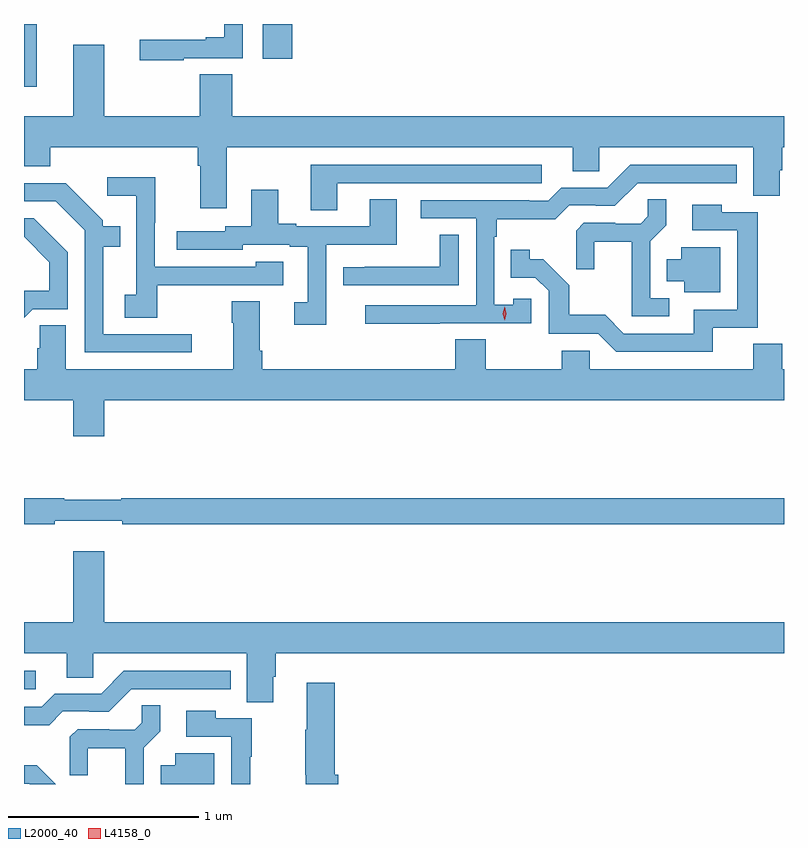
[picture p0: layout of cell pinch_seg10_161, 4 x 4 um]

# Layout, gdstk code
import gdstk
lib = gdstk.Library(unit=1e-6, precision=1e-09)
def R(c, l, rs):  # rectangles x0, y0, x1, y1
    for r in rs: c.add(gdstk.rectangle(r[:2], r[2:], *l))
def P(c, l, *ps):  # polygons
    for p in ps: c.add(gdstk.Polygon(p, *l))
L2000_40 = (2000, 40)
L4158_0 = (4158, 0)

pinch_seg10_161 = lib.new_cell('pinch_seg10_161')
R(pinch_seg10_161, L2000_40, [(692.222,1270.824,692.284,1270.92), (692.222,1273.995,692.29,1274.325), (693.479,1274.142,693.635,1274.325)])
P(pinch_seg10_161, L2000_40, [(693.062,1274.145),(693.372,1274.145),(693.372,1274.325),(693.275,1274.325),(693.275,1274.254),(693.179,1274.254),(693.179,1274.241),(692.832,1274.241),(692.832,1274.133),(693.062,1274.133)],
  [(693.289,1273.676),(695.111,1273.676),(695.111,1273.549),(695.25,1273.549),(695.25,1273.676),(696.059,1273.676),(696.059,1273.42),(696.199,1273.42),(696.199,1273.554),(696.212,1273.554),(696.212,1273.676),(696.222,1273.676),(696.222,1273.84),(693.317,1273.84),(693.317,1274.06),(693.146,1274.06),(693.146,1273.84),(692.644,1273.84),(692.644,1274.215),(692.48,1274.215),(692.48,1273.84),(692.222,1273.84),(692.222,1273.577),(692.36,1273.577),(692.36,1273.676),(693.137,1273.676),(693.137,1273.58),(693.149,1273.58),(693.149,1273.356),(693.289,1273.356)],
  [(694.409,1272.75),(694.893,1272.75),(694.893,1272.879),(694.797,1272.879),(694.797,1272.847),(694.698,1272.847),(694.698,1273.205),(694.711,1273.205),(694.711,1273.298),(695.018,1273.298),(695.091,1273.371),(695.23,1273.371),(695.23,1273.368),(695.331,1273.368),(695.451,1273.488),(695.974,1273.488),(695.974,1273.584),(695.412,1273.584),(695.292,1273.464),(695.049,1273.464),(694.98,1273.395),(694.88,1273.395),(694.88,1273.398),(694.311,1273.398),(694.311,1273.302),(694.602,1273.302),(694.602,1272.846),(694.017,1272.846),(694.017,1272.748),(694.409,1272.748)],
  [(693.871,1273.488),(694.948,1273.488),(694.948,1273.584),(693.731,1273.584),(693.731,1273.345),(693.871,1273.345)],
  [(692.923,1272.949),(693.227,1272.949),(693.227,1272.951),(693.586,1272.951),(693.586,1273.075),(693.441,1273.075),(693.441,1273.047),(692.91,1273.047),(692.91,1273.28),(692.913,1273.28),(692.913,1273.519),(692.661,1273.519),(692.661,1273.421),(692.814,1273.421),(692.814,1272.9),(692.751,1272.9),(692.751,1272.778),(692.923,1272.778)],
  [(693.106,1272.693),(692.638,1272.693),(692.638,1273.152),(692.729,1273.152),(692.729,1273.261),(692.637,1273.261),(692.637,1273.293),(692.442,1273.488),(692.222,1273.488),(692.222,1273.392),(692.388,1273.392),(692.541,1273.239),(692.541,1272.597),(693.106,1272.597)],
  [(693.813,1273.164),(694.183,1273.164),(694.183,1273.403),(694.043,1273.403),(694.043,1273.26),(693.655,1273.26),(693.655,1273.273),(693.559,1273.273),(693.559,1273.453),(693.419,1273.453),(693.419,1273.26),(693.282,1273.26),(693.282,1273.233),(693.027,1273.233),(693.027,1273.137),(693.372,1273.137),(693.372,1273.164),(693.62,1273.164),(693.62,1273.152),(693.716,1273.152),(693.716,1272.861),(693.645,1272.861),(693.645,1272.741),(693.813,1272.741)],
  [(695.617,1272.882),(695.517,1272.882),(695.517,1273.181),(695.603,1273.267),(695.603,1273.403),(695.505,1273.403),(695.505,1273.312),(695.468,1273.275),(695.334,1273.275),(695.334,1273.278),(695.169,1273.278),(695.128,1273.237),(695.128,1273.035),(695.222,1273.035),(695.222,1273.178),(695.42,1273.178),(695.42,1272.786),(695.617,1272.786)],
  [(695.846,1272.726),(696.085,1272.726),(696.085,1273.335),(695.895,1273.335),(695.895,1273.375),(695.739,1273.375),(695.739,1273.239),(695.976,1273.239),(695.976,1272.822),(695.747,1272.822),(695.747,1272.696),(695.379,1272.696),(695.281,1272.795),(695.092,1272.795),(695.092,1272.95),(694.954,1273.088),(694.884,1273.088),(694.884,1273.138),(694.783,1273.138),(694.783,1272.99),(694.914,1272.99),(694.983,1272.921),(694.983,1272.696),(695.244,1272.696),(695.34,1272.6),(695.846,1272.6)],
  [(692.268,1272.825),(692.451,1272.825),(692.451,1273.123),(692.272,1273.302),(692.222,1273.302),(692.222,1273.204),(692.354,1273.072),(692.354,1272.922),(692.222,1272.922),(692.222,1272.779)],
  [(694.509,1273.217),(694.411,1273.217),(694.411,1273.047),(694.015,1273.047),(694.015,1273.046),(693.903,1273.046),(693.903,1272.951),(694.509,1272.951)],
  [(695.887,1273.15),(695.681,1273.15),(695.681,1273.087),(695.606,1273.087),(695.606,1272.971),(695.696,1272.971),(695.696,1272.914),(695.887,1272.914)],
  [(692.644,1272.344),(696.222,1272.344),(696.222,1272.508),(696.212,1272.508),(696.212,1272.641),(696.059,1272.641),(696.059,1272.508),(695.199,1272.508),(695.199,1272.606),(695.053,1272.606),(695.053,1272.508),(694.653,1272.508),(694.653,1272.665),(694.493,1272.665),(694.493,1272.508),(693.476,1272.508),(693.476,1272.604),(693.463,1272.604),(693.463,1272.865),(693.316,1272.865),(693.316,1272.752),(693.323,1272.752),(693.323,1272.508),(692.443,1272.508),(692.443,1272.74),(692.305,1272.74),(692.305,1272.618),(692.291,1272.618),(692.291,1272.508),(692.222,1272.508),(692.222,1272.344),(692.48,1272.344),(692.48,1272.156),(692.644,1272.156)],
  [(692.384,1271.711),(692.74,1271.711),(692.74,1271.692),(696.222,1271.692),(696.222,1271.828),(692.735,1271.828),(692.735,1271.821),(692.435,1271.821),(692.435,1271.828),(692.222,1271.828),(692.222,1271.692),(692.384,1271.692)],
  [(693.535,1270.89),(693.548,1270.89),(693.548,1271.012),(696.222,1271.012),(696.222,1271.176),(692.644,1271.176),(692.644,1271.551),(692.48,1271.551),(692.48,1271.176),(692.222,1271.176),(692.222,1271.012),(692.447,1271.012),(692.447,1270.885),(692.586,1270.885),(692.586,1271.012),(693.395,1271.012),(693.395,1270.756),(693.535,1270.756)],
  [(692.427,1270.707),(692.566,1270.707),(692.566,1270.704),(692.667,1270.704),(692.787,1270.824),(693.31,1270.824),(693.31,1270.92),(692.748,1270.92),(692.628,1270.8),(692.385,1270.8),(692.316,1270.731),(692.222,1270.731),(692.222,1270.634),(692.354,1270.634)],
  [(693.875,1270.374),(693.857,1270.374),(693.857,1270.858),(693.71,1270.858),(693.71,1270.61),(693.703,1270.61),(693.703,1270.374),(693.704,1270.374),(693.704,1270.325),(693.875,1270.325)],
  [(692.853,1270.517),(692.939,1270.603),(692.939,1270.739),(692.841,1270.739),(692.841,1270.648),(692.804,1270.611),(692.67,1270.611),(692.67,1270.614),(692.505,1270.614),(692.464,1270.573),(692.464,1270.371),(692.558,1270.371),(692.558,1270.514),(692.756,1270.514),(692.756,1270.325),(692.853,1270.325)],
  [(693.413,1270.468),(693.421,1270.468),(693.421,1270.671),(693.231,1270.671),(693.231,1270.711),(693.075,1270.711),(693.075,1270.575),(693.312,1270.575),(693.312,1270.325),(693.413,1270.325)],
  [(693.223,1270.486),(693.017,1270.486),(693.017,1270.423),(692.942,1270.423),(692.942,1270.325),(693.223,1270.325)],
  [(692.29,1270.424),(692.222,1270.424),(692.222,1270.326),(692.25,1270.326),(692.251,1270.325),(692.389,1270.325)])
P(pinch_seg10_161, L4158_0, [(694.751,1272.765),(694.751,1272.765),(694.741,1272.801),(694.751,1272.837),(694.751,1272.837),(694.751,1272.837),(694.761,1272.801),(694.751,1272.765)])

lib.write_gds('pinch_seg10_161.gds')
